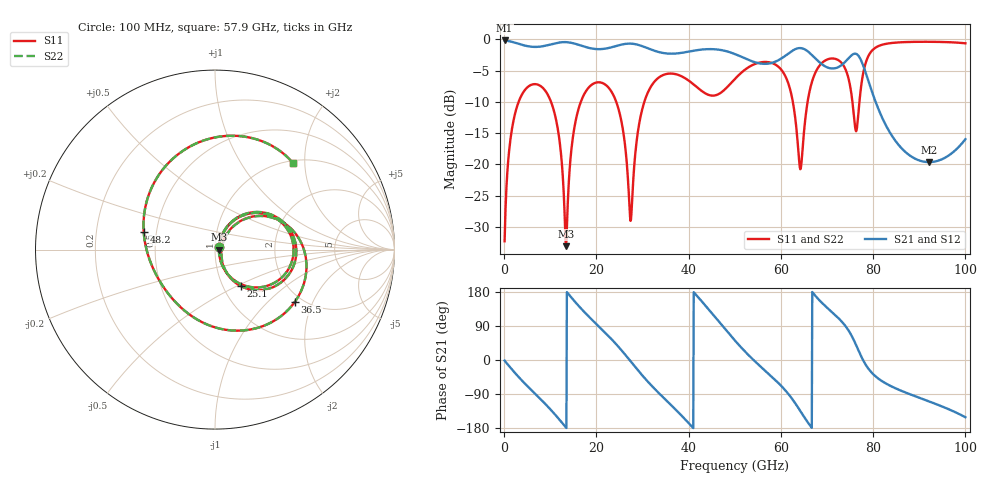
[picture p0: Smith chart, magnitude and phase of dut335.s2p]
! Touchstone file exported from HFSS 2026.1.0
!  File:  C:/ffzhzh/LocalFiles/Ansys_Project_Files/temp_train_TSV_RDL_335_1783704988_44652.aedt
!  Generated:  01:53:07 AM Jul 11, 2026
!  Design:  TSV_RDL
!  Project:  temp_train_TSV_RDL_335_1783704988_44652
! Variables:
!  h_bsmrdl = 4.19um
!  h_ox = 20um
!  h_rdl = 5um
!  h_sub = 74.4um
!  h_tmrdl = 2.99um
!  h_tsv = 74.4um
!  h_via = 3um
!  l_bsmrdl = 602.06um
!  l_sub = 4349.58um
!  l_tmrdl = 505.16um
!  m_sub = 200um
!  pitch = 42.85um
!  r_tsv = 13.15um
!  s_tmrdl = 10um
!  w_bsmrdl = 15.18um
!  w_sub = 500um
!  w_tmrdl = 25.74um
!  x_tsv_center1 = 518.03um
!  x_tsv_center2 = 1135.27um
!  x_tsv_center3 = 1666.17um
!  x_tsv_center4 = 2283.41um
!  x_tsv_center5 = 2814.31um
!  x_tsv_center6 = 3431.55um
# GHz S MA R 50.000000
! Terminal data exported
! Port[1] = TM_RDL1_1_T1
! Port[2] = TM_RDL5_1_T1
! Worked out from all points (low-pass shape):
!   1000 points, 100 MHz to 100 GHz, reference 50 ohm
!   highest |S21| = -0.18 dB at 100 MHz (marker M1); lowest = -19.6 dB at 92.1 GHz (marker M2)
!   |S21| within 3 dB of the highest: start of sweep to 52.6 GHz; 59.84 GHz to 67.64 GHz (7.798 GHz wide, 12.2 % of centre) (the widest 2 of 3)
!   lowest |S11| = -33.1 dB at 13.4 GHz (marker M3), VSWR 1.05, Z = 52.3 - j0.083 ohm
!   |S11| at or under -10 dB: 10.16 GHz to 16.63 GHz (6.466 GHz wide, 48.3 % of centre); 24.3 GHz to 30.39 GHz (6.095 GHz wide, 22.3 % of centre); 62.59 GHz to 65.79 GHz (3.196 GHz wide, 4.98 % of centre) (the widest 3 of 5)
!   |S22| runs from -33.4 to -0.4 dB; largest |S21 - S12| = 1.7e-14
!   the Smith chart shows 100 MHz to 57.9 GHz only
!   S11 on the Smith chart (normalised r, x): 100 MHz: 1.04, +0.03; 25.1 GHz: 1.21, -0.53; 36.5 GHz: 1.83, -1.48; 48.2 GHz: 0.42, +0.10; 57.9 GHz: 1.04, +1.74
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0.1  0.02423 31.6  0.9796 -1.6  0.9796 -1.6  0.02423 31.6
! Gamma 0 0 0 0
! Port Impedance 50 0 50 0
2.2  0.2399 51.5  0.944 -32.1  0.944 -32.1  0.2399 51.5
6.5  0.4381 0.9  0.8699 -86.5  0.8699 -86.5  0.4381 0.9
11  0.2502 -51.8  0.9283 -143.4  0.9283 -143.4  0.2502 -51.9
13.4  0.02215 -2.1  0.9498 -178.0  0.9498 -178.0  0.02144 -2.3
16.8  0.3285 39.4  0.8877 134.2  0.8877 134.2  0.3284 39.6
25.1  0.2508 -54.5  0.901 30.5  0.901 30.5  0.2509 -54.1
27.5  0.03624 7.5  0.9238 -4.7  0.9238 -4.7  0.03818 6.9
29.7  0.2535 44.3  0.8883 -37.1  0.8883 -37.1  0.2538 43.9
33.4  0.4908 1.7  0.7937 -85.6  0.7937 -85.6  0.4909 1.5
36.5  0.5317 -33.2  0.7681 -122.7  0.7681 -122.7  0.5317 -33.2
42.3  0.4002 -105.3  0.8239 162.4  0.8239 162.4  0.4001 -105.3
48.2  0.409 166.1  0.8034 77.4  0.8034 77.4  0.4089 166.2
50.1  0.485 138.4  0.7605 50.5  0.7605 50.5  0.4848 138.5
57.9  0.6493 48.1  0.646 -42.7  0.646 -42.7  0.6493 48.2
64.2  0.0914 40.2  0.8516 -134.4  0.8516 -134.4  0.09257 40.3
66.7  0.4525 80.7  0.7502 -179.0  0.7502 -179.0  0.4527 80.6
72.6  0.6761 21.6  0.6033 108.9  0.6033 108.9  0.6762 21.6
76.9  0.282 68.7  0.7317 23.1  0.7317 23.1  0.2831 68.5
83.4  0.9286 18.6  0.1859 -66.2  0.1859 -66.2  0.9287 18.6
92.1  0.956 -19.5  0.1042 -109.2  0.1042 -109.2  0.956 -19.4
100  0.9297 -57.1  0.1588 -151.0  0.1588 -151.0  0.9298 -57.1
